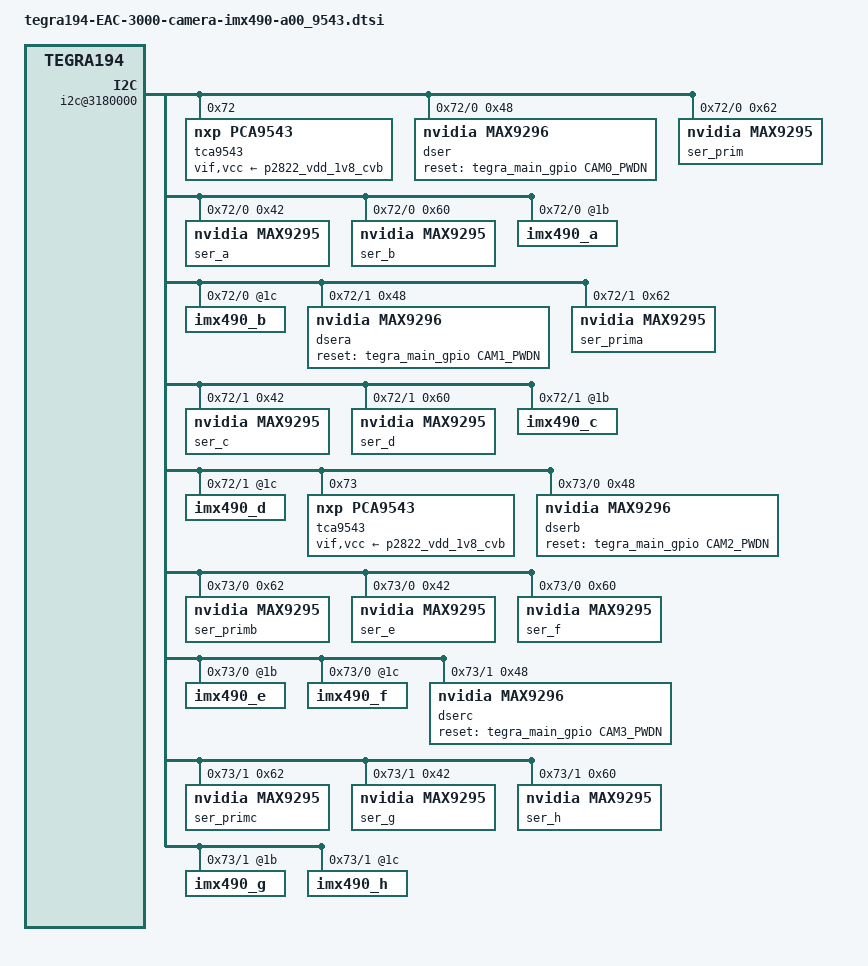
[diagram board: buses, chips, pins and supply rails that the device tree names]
/*
 * Copyright (c) 2018-2019, NVIDIA CORPORATION.  All rights reserved.
 *
 * This program is free software; you can redistribute it and/or modify
 * it under the terms of the GNU General Public License as published by
 * the Free Software Foundation; either version 2 of the License, or
 * (at your option) any later version.
 *
 * This program is distributed in the hope that it will be useful, but WITHOUT
 * ANY WARRANTY; without even the implied warranty of MERCHANTABILITY or
 * FITNESS FOR A PARTICULAR PURPOSE.  See the GNU General Public License for
 * more details.
 *
 * You should have received a copy of the GNU General Public License
 * along with this program.  If not, see <http://www.gnu.org/licenses/>.
 */
#include <t19x-common-modules/tegra194-EAC-3000-camera-imx490-a00_PCA9543.dtsi>
#include "dt-bindings/clock/tegra194-clock.h"

#define CAM0_PWDN	TEGRA194_MAIN_GPIO(H, 6)
#define CAM1_PWDN	TEGRA194_MAIN_GPIO(T, 5)
#define CAM2_PWDN	TEGRA194_MAIN_GPIO(H, 3)
#define CAM3_PWDN	TEGRA194_MAIN_GPIO(T, 6)
#define CAM_I2C_MUX 	TEGRA194_AON_GPIO(CC, 3)
#define CAMERA_I2C_MUX_BUS(x) (0x1E + x)

/* camera control gpio definitions */

/ {
	i2c@3180000 {
		tca9543@72 {
			compatible = "nxp,pca9543";
			reg = <0x72>;
			#address-cells = <1>;
			#size-cells = <0>;
			skip_mux_detect = "yes";
			vif-supply = <&p2822_vdd_1v8_cvb>;
			vcc-supply = <&p2822_vdd_1v8_cvb>;
			vcc_lp = "vcc";
			force_bus_start = <CAMERA_I2C_MUX_BUS(0)>;
			i2c@0 {
				reg = <0>;
				i2c-mux,deselect-on-exit;
				#address-cells = <1>;
				#size-cells = <0>;
				dser: max9296@48 {
					compatible = "nvidia,max9296";
					streams = "yuv8";
					reg = <0x48>;
					csi-mode = "2x4";
					max-src = <2>;
					reset-gpios = <&tegra_main_gpio CAM0_PWDN GPIO_ACTIVE_HIGH>;
                                        fsync-gpio = <6>; //fsync gpio on 9296
				};
				ser_prim: max9295_prim@62 {
					compatible = "nvidia,max9295";
					streams = "yuv8";
					reg = <0x62>;
					is-prim-ser;
				};
				ser_a: max9295_a@42 {
					compatible = "nvidia,max9295";
					reg = <0x42>;
					nvidia,gmsl-dser-device = <&dser>;
				};
				ser_b: max9295_b@60 {
					compatible = "nvidia,max9295";
					reg = <0x60>;
					nvidia,gmsl-dser-device = <&dser>;
				};
				imx490_a@1b {
					def-addr = <0x6c>;
					/* Define any required hw resources needed by driver */
					/* ie. clocks, io pins, power sources */
					clocks = <&bpmp_clks TEGRA194_CLK_EXTPERIPH1>,
							<&bpmp_clks TEGRA194_CLK_EXTPERIPH1>;
					clock-names = "extperiph1", "pllp_grtba";
					mclk = "extperiph1";
					nvidia,gmsl-ser-device = <&ser_a>;
					nvidia,gmsl-dser-device = <&dser>;
				};
				imx490_b@1c {
					def-addr = <0x6c>;
					/* Define any required hw resources needed by driver */
					/* ie. clocks, io pins, power sources */
					clocks = <&bpmp_clks TEGRA194_CLK_EXTPERIPH1>,
							<&bpmp_clks TEGRA194_CLK_EXTPERIPH1>;
					clock-names = "extperiph1", "pllp_grtba";
					mclk = "extperiph1";
					nvidia,gmsl-ser-device = <&ser_b>;
					nvidia,gmsl-dser-device = <&dser>;
				};
			};
			i2c@1 {
				reg = <1>;
				i2c-mux,deselect-on-exit;
				#address-cells = <1>;
				#size-cells = <0>;
				dsera: max9296@48 {
					compatible = "nvidia,max9296";
					streams = "yuv8";
					reg = <0x48>;
					csi-mode = "2x4";
					max-src = <2>;
					reset-gpios = <&tegra_main_gpio CAM1_PWDN GPIO_ACTIVE_HIGH>;
                                        fsync-gpio = <6>; //fsync gpio on 9296
				};
				ser_prima: max9295_prim@62 {
					compatible = "nvidia,max9295";
					streams = "yuv8";
					reg = <0x62>;
					is-prim-ser;
				};
				ser_c: max9295_a@42 {
					compatible = "nvidia,max9295";
					reg = <0x42>;
					nvidia,gmsl-dser-device = <&dsera>;
				};
				ser_d: max9295_b@60 {
					compatible = "nvidia,max9295";
					reg = <0x60>;
					nvidia,gmsl-dser-device = <&dsera>;
				};
				imx490_c@1b {
					def-addr = <0x6c>;
					/* Define any required hw resources needed by driver */
					/* ie. clocks, io pins, power sources */
					clocks = <&bpmp_clks TEGRA194_CLK_EXTPERIPH1>,
							<&bpmp_clks TEGRA194_CLK_EXTPERIPH1>;
					clock-names = "extperiph1", "pllp_grtba";
					mclk = "extperiph1";
					nvidia,gmsl-ser-device = <&ser_c>;
					nvidia,gmsl-dser-device = <&dsera>;
				};
				imx490_d@1c {
					def-addr = <0x6c>;
					/* Define any required hw resources needed by driver */
					/* ie. clocks, io pins, power sources */
					clocks = <&bpmp_clks TEGRA194_CLK_EXTPERIPH1>,
							<&bpmp_clks TEGRA194_CLK_EXTPERIPH1>;
					clock-names = "extperiph1", "pllp_grtba";
					mclk = "extperiph1";
					nvidia,gmsl-ser-device = <&ser_d>;
					nvidia,gmsl-dser-device = <&dsera>;
				};
			};

		};
		tca9543@73 {
			compatible = "nxp,pca9543";
			reg = <0x73>;
			#address-cells = <1>;
			#size-cells = <0>;
			skip_mux_detect = "yes";
			vif-supply = <&p2822_vdd_1v8_cvb>;
			vcc-supply = <&p2822_vdd_1v8_cvb>;
			vcc_lp = "vcc";
			force_bus_start = <CAMERA_I2C_MUX_BUS(2)>;
			i2c@0 {
				reg = <0>;
				i2c-mux,deselect-on-exit;
				address-cells = <1>;
				#size-cells = <0>;
				dserb: max9296@48 {
					compatible = "nvidia,max9296";
					streams = "yuv8";
					reg = <0x48>;
					csi-mode = "2x4";
					max-src = <2>;
					reset-gpios = <&tegra_main_gpio CAM2_PWDN GPIO_ACTIVE_HIGH>;
                                        fsync-gpio = <6>; //fsync gpio on 9296
				};
				ser_primb: max9295_prim@62 {
					compatible = "nvidia,max9295";
					streams = "yuv8";
					reg = <0x62>;
					is-prim-ser;
				};
				ser_e: max9295_a@42 {
					compatible = "nvidia,max9295";
					reg = <0x42>;
					nvidia,gmsl-dser-device = <&dserb>;
				};
				ser_f: max9295_b@60 {
					compatible = "nvidia,max9295";
					reg = <0x60>;
					nvidia,gmsl-dser-device = <&dserb>;
				};
				imx490_e@1b {
					def-addr = <0x6c>;
					/* Define any required hw resources needed by driver */
					/* ie. clocks, io pins, power sources */
					clocks = <&bpmp_clks TEGRA194_CLK_EXTPERIPH1>,
							<&bpmp_clks TEGRA194_CLK_EXTPERIPH1>;
					clock-names = "extperiph1", "pllp_grtba";
					mclk = "extperiph1";
					nvidia,gmsl-ser-device = <&ser_e>;
					nvidia,gmsl-dser-device = <&dserb>;
				};
				imx490_f@1c {
					def-addr = <0x6c>;
					/* Define any required hw resources needed by driver */
					/* ie. clocks, io pins, power sources */
					clocks = <&bpmp_clks TEGRA194_CLK_EXTPERIPH1>,
							<&bpmp_clks TEGRA194_CLK_EXTPERIPH1>;
					clock-names = "extperiph1", "pllp_grtba";
					mclk = "extperiph1";
					nvidia,gmsl-ser-device = <&ser_f>;
					nvidia,gmsl-dser-device = <&dserb>;
				};
			};
			i2c@1 {
				reg = <1>;
				i2c-mux,deselect-on-exit;
				#address-cells = <1>;
				#size-cells = <0>;
				dserc: max9296@48 {
					compatible = "nvidia,max9296";
					streams = "yuv8";
					reg = <0x48>;
					csi-mode = "2x4";
					max-src = <2>;
					reset-gpios = <&tegra_main_gpio CAM3_PWDN GPIO_ACTIVE_HIGH>;
                                        fsync-gpio = <6>; //fsync gpio on 9296
				};
				ser_primc: max9295_prim@62 {
					compatible = "nvidia,max9295";
					streams = "yuv8";
					reg = <0x62>;
					is-prim-ser;
				};
				ser_g: max9295_a@42 {
					compatible = "nvidia,max9295";
					reg = <0x42>;
					nvidia,gmsl-dser-device = <&dserc>;
				};
				ser_h: max9295_b@60 {
					compatible = "nvidia,max9295";
					reg = <0x60>;
					nvidia,gmsl-dser-device = <&dserc>;
				};
				imx490_g@1b {
					def-addr = <0x6c>;
					/* Define any required hw resources needed by driver */
					/* ie. clocks, io pins, power sources */
					clocks = <&bpmp_clks TEGRA194_CLK_EXTPERIPH1>,
							<&bpmp_clks TEGRA194_CLK_EXTPERIPH1>;
					clock-names = "extperiph1", "pllp_grtba";
					mclk = "extperiph1";
					nvidia,gmsl-ser-device = <&ser_g>;
					nvidia,gmsl-dser-device = <&dserc>;
				};
				imx490_h@1c {
					def-addr = <0x6c>;
					/* Define any required hw resources needed by driver */
					/* ie. clocks, io pins, power sources */
					clocks = <&bpmp_clks TEGRA194_CLK_EXTPERIPH1>,
							<&bpmp_clks TEGRA194_CLK_EXTPERIPH1>;
					clock-names = "extperiph1", "pllp_grtba";
					mclk = "extperiph1";
					nvidia,gmsl-ser-device = <&ser_h>;
					nvidia,gmsl-dser-device = <&dserc>;
				};
			};

		};
	};
};
